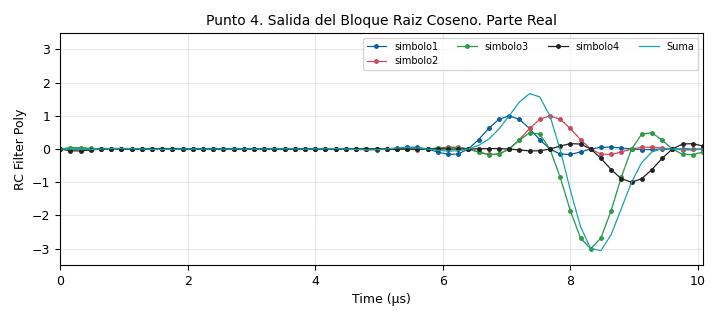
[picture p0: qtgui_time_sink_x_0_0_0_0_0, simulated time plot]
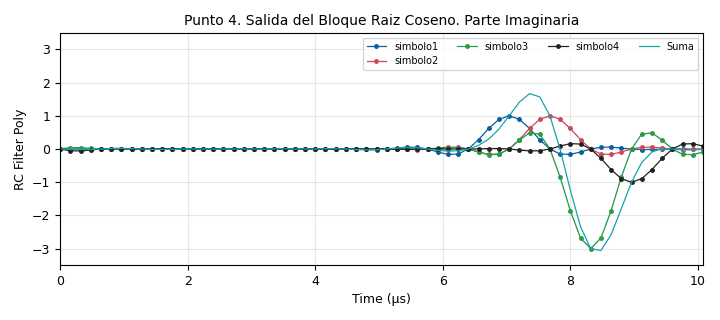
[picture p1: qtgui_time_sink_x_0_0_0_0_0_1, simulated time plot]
<?xml version='1.0' encoding='utf-8'?>
<?grc format='1' created='3.7.13'?>
<flow_graph>
<block>
<key>options</key>
<param><key>id</key><value>Lab_total</value></param>
<param><key>category</key><value>Custom</value></param>
<param><key>generate_options</key><value>qt_gui</value></param>
<param><key>run</key><value>run_stop</value></param>
</block>
<block>
<key>variable</key>
<param><key>id</key><value>Const_ID</value></param>
<param><key>value</key><value>3</value></param>
</block>
<block>
<key>variable</key>
<param><key>id</key><value>Fc</value></param>
<param><key>value</key><value>80000000</value></param>
</block>
<block>
<key>variable</key>
<param><key>id</key><value>M</value></param>
<param><key>value</key><value>len(const[Const_ID].points())</value></param>
</block>
<block>
<key>variable</key>
<param><key>id</key><value>Rb</value></param>
<param><key>value</key><value>samp_rate</value></param>
</block>
<block>
<key>variable</key>
<param><key>id</key><value>Rs</value></param>
<param><key>value</key><value>samp_rate/Sps</value></param>
</block>
<block>
<key>variable</key>
<param><key>id</key><value>Sps</value></param>
<param><key>value</key><value>4</value></param>
</block>
<block>
<key>variable</key>
<param><key>id</key><value>const</value></param>
<param><key>value</key><value>(digital.constellation_bpsk(), digital.constellation_qpsk(), digital.constellation_8psk(), digital.qam.qam_constellation(16))</value></param>
</block>
<block>
<key>variable</key>
<param><key>id</key><value>hrc</value></param>
<param><key>value</key><value>wform.rcos(Sps,ntaps,rolloff)</value></param>
</block>
<block>
<key>variable</key>
<param><key>id</key><value>ntaps</value></param>
<param><key>value</key><value>64</value></param>
</block>
<block>
<key>variable</key>
<param><key>id</key><value>rolloff</value></param>
<param><key>value</key><value>0.35</value></param>
</block>
<block>
<key>variable_qtgui_check_box</key>
<param><key>id</key><value>run_stop</value></param>
<param><key>value</key><value>True</value></param>
<param><key>false</key><value>False</value></param>
<param><key>gui_hint</key><value>0,0,1,1</value></param>
<param><key>label</key><value>Inicial/Parar</value></param>
<param><key>true</key><value>True</value></param>
<param><key>type</key><value>int</value></param>
</block>
<block>
<key>variable</key>
<param><key>id</key><value>samp_rate</value></param>
<param><key>value</key><value>6250000</value></param>
</block>
<block>
<key>analog_random_source_x</key>
<param><key>id</key><value>analog_random_source_x</value></param>
<param><key>max</key><value>M</value></param>
<param><key>min</key><value>0</value></param>
<param><key>num_samps</key><value>10000000</value></param>
<param><key>type</key><value>byte</value></param>
<param><key>repeat</key><value>True</value></param>
</block>
<block>
<key>b_PSD_VRMS_c</key>
<param><key>id</key><value>b_PSD_VRMS_c_0</value></param>
<param><key>Fc</key><value>Fc</value></param>
<param><key>samp_rate_audio</key><value>samp_rate</value></param>
<param><key>gui_hint</key><value>pestana@0:0,0</value></param>
<param><key>N</key><value>1024</value></param>
<param><key>Ensayos</key><value>1000000</value></param>
<param><key>Titulo</key><value>"Punto 3. La PSD"</value></param>
</block>
<block>
<key>blocks_add_xx</key>
<param><key>id</key><value>blocks_add_xx_0</value></param>
<param><key>type</key><value>float</value></param>
<param><key>num_inputs</key><value>4</value></param>
</block>
<block>
<key>blocks_add_xx</key>
<param><key>id</key><value>blocks_add_xx_0_0</value></param>
<param><key>type</key><value>float</value></param>
<param><key>num_inputs</key><value>4</value></param>
</block>
<block>
<key>blocks_delay</key>
<param><key>id</key><value>blocks_delay_0_0</value></param>
<param><key>delay</key><value>0</value></param>
<param><key>type</key><value>float</value></param>
</block>
<block>
<key>blocks_delay</key>
<param><key>id</key><value>blocks_delay_0_0_0</value></param>
<param><key>delay</key><value>Sps</value></param>
<param><key>type</key><value>float</value></param>
</block>
<block>
<key>blocks_delay</key>
<param><key>id</key><value>blocks_delay_0_0_0_0</value></param>
<param><key>delay</key><value>Sps*2</value></param>
<param><key>type</key><value>float</value></param>
</block>
<block>
<key>blocks_delay</key>
<param><key>id</key><value>blocks_delay_0_0_0_0_0</value></param>
<param><key>delay</key><value>Sps*3</value></param>
<param><key>type</key><value>float</value></param>
</block>
<block>
<key>blocks_delay</key>
<param><key>id</key><value>blocks_delay_0_0_0_0_0_0</value></param>
<param><key>delay</key><value>Sps*3</value></param>
<param><key>type</key><value>float</value></param>
</block>
<block>
<key>blocks_delay</key>
<param><key>id</key><value>blocks_delay_0_0_0_0_1</value></param>
<param><key>delay</key><value>Sps*2</value></param>
<param><key>type</key><value>float</value></param>
</block>
<block>
<key>blocks_delay</key>
<param><key>id</key><value>blocks_delay_0_0_0_1</value></param>
<param><key>delay</key><value>Sps</value></param>
<param><key>type</key><value>float</value></param>
</block>
<block>
<key>blocks_delay</key>
<param><key>id</key><value>blocks_delay_0_0_1</value></param>
<param><key>delay</key><value>0</value></param>
<param><key>type</key><value>float</value></param>
</block>
<block>
<key>blocks_throttle</key>
<param><key>id</key><value>blocks_throttle_0_0_0_0</value></param>
<param><key>samples_per_second</key><value>samp_rate</value></param>
<param><key>type</key><value>float</value></param>
</block>
<block>
<key>blocks_throttle</key>
<param><key>id</key><value>blocks_throttle_0_0_0_0_0</value></param>
<param><key>samples_per_second</key><value>samp_rate</value></param>
<param><key>type</key><value>float</value></param>
</block>
<block>
<key>blocks_vector_source_x</key>
<param><key>id</key><value>blocks_vector_source_x_0_1</value></param>
<param><key>type</key><value>float</value></param>
<param><key>repeat</key><value>True</value></param>
<param><key>vector</key><value>1*hrc</value></param>
</block>
<block>
<key>blocks_vector_source_x</key>
<param><key>id</key><value>blocks_vector_source_x_0_1_0</value></param>
<param><key>type</key><value>float</value></param>
<param><key>repeat</key><value>True</value></param>
<param><key>vector</key><value>1*hrc</value></param>
</block>
<block>
<key>blocks_vector_source_x</key>
<param><key>id</key><value>blocks_vector_source_x_0_1_0_0</value></param>
<param><key>type</key><value>float</value></param>
<param><key>repeat</key><value>True</value></param>
<param><key>vector</key><value>-3*hrc</value></param>
</block>
<block>
<key>blocks_vector_source_x</key>
<param><key>id</key><value>blocks_vector_source_x_0_1_0_0_0</value></param>
<param><key>type</key><value>float</value></param>
<param><key>repeat</key><value>True</value></param>
<param><key>vector</key><value>-1*hrc</value></param>
</block>
<block>
<key>blocks_vector_source_x</key>
<param><key>id</key><value>blocks_vector_source_x_0_1_0_0_0_0</value></param>
<param><key>type</key><value>float</value></param>
<param><key>repeat</key><value>True</value></param>
<param><key>vector</key><value>-1*hrc</value></param>
</block>
<block>
<key>blocks_vector_source_x</key>
<param><key>id</key><value>blocks_vector_source_x_0_1_0_0_1</value></param>
<param><key>type</key><value>float</value></param>
<param><key>repeat</key><value>True</value></param>
<param><key>vector</key><value>-3*hrc</value></param>
</block>
<block>
<key>blocks_vector_source_x</key>
<param><key>id</key><value>blocks_vector_source_x_0_1_0_1</value></param>
<param><key>type</key><value>float</value></param>
<param><key>repeat</key><value>True</value></param>
<param><key>vector</key><value>1*hrc</value></param>
</block>
<block>
<key>blocks_vector_source_x</key>
<param><key>id</key><value>blocks_vector_source_x_0_1_1</value></param>
<param><key>type</key><value>float</value></param>
<param><key>repeat</key><value>True</value></param>
<param><key>vector</key><value>1*hrc</value></param>
</block>
<block>
<key>digital_chunks_to_symbols_xx</key>
<param><key>id</key><value>digital_chunks_to_symbols_xx</value></param>
<param><key>dimension</key><value>1</value></param>
<param><key>in_type</key><value>byte</value></param>
<param><key>out_type</key><value>complex</value></param>
<param><key>symbol_table</key><value>const[Const_ID].points()</value></param>
</block>
<block>
<key>import</key>
<param><key>id</key><value>import_0</value></param>
<param><key>import</key><value>import numpy</value></param>
</block>
<block>
<key>interp_fir_filter_xxx</key>
<param><key>id</key><value>interp_fir_filter_xxx_0_0_0_0</value></param>
<param><key>interp</key><value>Sps</value></param>
<param><key>taps</key><value>hrc</value></param>
<param><key>type</key><value>ccc</value></param>
</block>
<block>
<key>qtgui_tab_widget</key>
<param><key>id</key><value>pestana</value></param>
<param><key>label0</key><value>Datos</value></param>
<param><key>num_tabs</key><value>1</value></param>
</block>
<block>
<key>qtgui_time_sink_x</key>
<param><key>id</key><value>qtgui_time_sink_x_0_0_0_0_0</value></param>
<param><key>ctrlpanel</key><value>True</value></param>
<param><key>gui_hint</key><value>pestana@0:1,0</value></param>
<param><key>color1</key><value>"blue"</value></param>
<param><key>label1</key><value>simbolo1</value></param>
<param><key>marker1</key><value>0</value></param>
<param><key>width1</key><value>3</value></param>
<param><key>color2</key><value>"red"</value></param>
<param><key>label2</key><value>simbolo2</value></param>
<param><key>marker2</key><value>0</value></param>
<param><key>width2</key><value>3</value></param>
<param><key>color3</key><value>"green"</value></param>
<param><key>label3</key><value>simbolo3</value></param>
<param><key>marker3</key><value>0</value></param>
<param><key>width3</key><value>3</value></param>
<param><key>color4</key><value>"black"</value></param>
<param><key>label4</key><value>simbolo4</value></param>
<param><key>marker4</key><value>0</value></param>
<param><key>width4</key><value>3</value></param>
<param><key>color5</key><value>"cyan"</value></param>
<param><key>label5</key><value>Suma</value></param>
<param><key>width5</key><value>5</value></param>
<param><key>name</key><value>"Punto 4. Salida del Bloque Raiz Coseno. Parte Real"</value></param>
<param><key>nconnections</key><value>5</value></param>
<param><key>size</key><value>ntaps</value></param>
<param><key>srate</key><value>samp_rate</value></param>
<param><key>tr_mode</key><value>qtgui.TRIG_MODE_AUTO</value></param>
<param><key>type</key><value>float</value></param>
<param><key>ylabel</key><value>RC Filter Poly</value></param>
<param><key>ymax</key><value>3.5</value></param>
<param><key>ymin</key><value>-3.5</value></param>
</block>
<block>
<key>qtgui_time_sink_x</key>
<param><key>id</key><value>qtgui_time_sink_x_0_0_0_0_0_1</value></param>
<param><key>ctrlpanel</key><value>True</value></param>
<param><key>gui_hint</key><value>pestana@0:2,0</value></param>
<param><key>color1</key><value>"blue"</value></param>
<param><key>label1</key><value>simbolo1</value></param>
<param><key>marker1</key><value>0</value></param>
<param><key>width1</key><value>3</value></param>
<param><key>color2</key><value>"red"</value></param>
<param><key>label2</key><value>simbolo2</value></param>
<param><key>marker2</key><value>0</value></param>
<param><key>width2</key><value>3</value></param>
<param><key>color3</key><value>"green"</value></param>
<param><key>label3</key><value>simbolo3</value></param>
<param><key>marker3</key><value>0</value></param>
<param><key>width3</key><value>3</value></param>
<param><key>color4</key><value>"black"</value></param>
<param><key>label4</key><value>simbolo4</value></param>
<param><key>marker4</key><value>0</value></param>
<param><key>width4</key><value>3</value></param>
<param><key>color5</key><value>"cyan"</value></param>
<param><key>label5</key><value>Suma</value></param>
<param><key>width5</key><value>5</value></param>
<param><key>name</key><value>"Punto 4. Salida del Bloque Raiz Coseno. Parte Imaginaria"</value></param>
<param><key>nconnections</key><value>5</value></param>
<param><key>size</key><value>ntaps</value></param>
<param><key>srate</key><value>samp_rate</value></param>
<param><key>tr_mode</key><value>qtgui.TRIG_MODE_AUTO</value></param>
<param><key>type</key><value>float</value></param>
<param><key>ylabel</key><value>RC Filter Poly</value></param>
<param><key>ymax</key><value>3.5</value></param>
<param><key>ymin</key><value>-3.5</value></param>
</block>
<block>
<key>virtual_sink</key>
<param><key>id</key><value>virtual_sink_0</value></param>
<param><key>stream_id</key><value>RC0</value></param>
</block>
<block>
<key>virtual_sink</key>
<param><key>id</key><value>virtual_sink_0_0</value></param>
<param><key>stream_id</key><value>RC1</value></param>
</block>
<block>
<key>virtual_sink</key>
<param><key>id</key><value>virtual_sink_0_0_0</value></param>
<param><key>stream_id</key><value>RC2</value></param>
</block>
<block>
<key>virtual_sink</key>
<param><key>id</key><value>virtual_sink_0_0_0_0</value></param>
<param><key>stream_id</key><value>RC3</value></param>
</block>
<block>
<key>virtual_sink</key>
<param><key>id</key><value>virtual_sink_0_0_0_0_0</value></param>
<param><key>stream_id</key><value>RCs</value></param>
</block>
<block>
<key>virtual_sink</key>
<param><key>id</key><value>virtual_sink_0_0_0_0_0_0</value></param>
<param><key>stream_id</key><value>RCis</value></param>
</block>
<block>
<key>virtual_sink</key>
<param><key>id</key><value>virtual_sink_0_0_0_0_1</value></param>
<param><key>stream_id</key><value>RCi3</value></param>
</block>
<block>
<key>virtual_sink</key>
<param><key>id</key><value>virtual_sink_0_0_0_1</value></param>
<param><key>stream_id</key><value>RCi2</value></param>
</block>
<block>
<key>virtual_sink</key>
<param><key>id</key><value>virtual_sink_0_0_1</value></param>
<param><key>stream_id</key><value>RCi1</value></param>
</block>
<block>
<key>virtual_sink</key>
<param><key>id</key><value>virtual_sink_0_1</value></param>
<param><key>stream_id</key><value>RCi0</value></param>
</block>
<block>
<key>virtual_source</key>
<param><key>id</key><value>virtual_source_0_2</value></param>
<param><key>stream_id</key><value>RC0</value></param>
</block>
<block>
<key>virtual_source</key>
<param><key>id</key><value>virtual_source_0_2_0</value></param>
<param><key>stream_id</key><value>RC1</value></param>
</block>
<block>
<key>virtual_source</key>
<param><key>id</key><value>virtual_source_0_2_0_0</value></param>
<param><key>stream_id</key><value>RC2</value></param>
</block>
<block>
<key>virtual_source</key>
<param><key>id</key><value>virtual_source_0_2_0_0_0</value></param>
<param><key>stream_id</key><value>RC3</value></param>
</block>
<block>
<key>virtual_source</key>
<param><key>id</key><value>virtual_source_0_2_0_0_0_0</value></param>
<param><key>stream_id</key><value>RCs</value></param>
</block>
<block>
<key>virtual_source</key>
<param><key>id</key><value>virtual_source_0_2_0_0_0_0_0</value></param>
<param><key>stream_id</key><value>RCis</value></param>
</block>
<block>
<key>virtual_source</key>
<param><key>id</key><value>virtual_source_0_2_0_0_0_1</value></param>
<param><key>stream_id</key><value>RCi3</value></param>
</block>
<block>
<key>virtual_source</key>
<param><key>id</key><value>virtual_source_0_2_0_0_1</value></param>
<param><key>stream_id</key><value>RCi2</value></param>
</block>
<block>
<key>virtual_source</key>
<param><key>id</key><value>virtual_source_0_2_0_1</value></param>
<param><key>stream_id</key><value>RCi1</value></param>
</block>
<block>
<key>virtual_source</key>
<param><key>id</key><value>virtual_source_0_2_1</value></param>
<param><key>stream_id</key><value>RCi0</value></param>
</block>
<block>
<key>epy_module</key>
<param><key>id</key><value>wform</value></param>
<param><key>source_code</key><value>import math
import numpy
#######################################################
##        Hecho por Homero Ortega Boada              ##
##        comdiguis@saber.uis.edu.co                 ##
##     Universidad Industrial de Santander           ##
#######################################################

#######################################################
##               Forma rectangular                   ##
#######################################################                       
def rect(Sps):
    return Sps*[1.,]

#######################################################
##               Forma de Nyquist                    ##
#######################################################                       
def nyq(Sps,ntaps):
    n=numpy.linspace(-int(ntaps/2), int(ntaps/2-1),ntaps)
    h=numpy.sinc(n/Sps)
    return h/numpy.amax(h)
#    return h
#######################################################
##               Forma Coseno Alzado                 ##
#######################################################                       
def rcos(Sps,ntaps,beta):
    if beta==0:
        h=nyq(Sps,ntaps)
    else:
        h=ntaps*[0,]
        for n in range(ntaps):
            k=n-ntaps/2. # esto es para que h[n] quede centrada en la mitad del vector
            if abs(k)==Sps/(2.*beta):
                h[n]=numpy.sinc(1./(2.*beta))*math.pi/4.
            else:
                h[n]=numpy.sinc(k/Sps)*math.cos(beta*k*math.pi/Sps)/(1.-(2.*beta*k/Sps)**2)                
    Amp=numpy.amax(h)
    return h/Amp
#######################################################
##            Forma Raiz de Coseno Alzado            ##
#######################################################                       

def rrcos(Sps,ntaps,beta):
    if beta==0:
        h=nyq(Sps,ntaps)
    else:
        h=ntaps*[0,]
        beta4=4.*beta
        for n in range(ntaps):
            k=n-ntaps/2. # esto es para que h[n] quede centrada en la mitad del vector
            if k==0:
                h[n]=1+beta*(4./math.pi-1.)
            elif abs(k)==Sps/beta4:
                ha=(1.+2./math.pi)*math.sin(math.pi/beta4)
                hb=(1.-2./math.pi)*math.cos(math.pi/beta4)
                h[n]=(ha+hb)*beta/math.sqrt(2.)
            else:
                ks=k/Sps
                kspi=math.pi*ks
                Num=math.sin(kspi*(1-beta))+beta4*ks*math.cos(kspi*(1+beta))
                Den=kspi*(1.-(beta4*ks)**2)
                h[n]=Num/Den                
    Amp=numpy.amax(h)
    return h/Amp
</value></param>
</block>
<connection><source_block_id>analog_random_source_x</source_block_id><sink_block_id>digital_chunks_to_symbols_xx</sink_block_id><source_key>0</source_key><sink_key>0</sink_key></connection>
<connection><source_block_id>blocks_add_xx_0</source_block_id><sink_block_id>virtual_sink_0_0_0_0_0</sink_block_id><source_key>0</source_key><sink_key>0</sink_key></connection>
<connection><source_block_id>blocks_add_xx_0_0</source_block_id><sink_block_id>virtual_sink_0_0_0_0_0_0</sink_block_id><source_key>0</source_key><sink_key>0</sink_key></connection>
<connection><source_block_id>blocks_delay_0_0</source_block_id><sink_block_id>blocks_add_xx_0</sink_block_id><source_key>0</source_key><sink_key>0</sink_key></connection>
<connection><source_block_id>blocks_delay_0_0</source_block_id><sink_block_id>blocks_throttle_0_0_0_0</sink_block_id><source_key>0</source_key><sink_key>0</sink_key></connection>
<connection><source_block_id>blocks_delay_0_0_0</source_block_id><sink_block_id>blocks_add_xx_0</sink_block_id><source_key>0</source_key><sink_key>1</sink_key></connection>
<connection><source_block_id>blocks_delay_0_0_0</source_block_id><sink_block_id>virtual_sink_0_0</sink_block_id><source_key>0</source_key><sink_key>0</sink_key></connection>
<connection><source_block_id>blocks_delay_0_0_0_0</source_block_id><sink_block_id>blocks_add_xx_0</sink_block_id><source_key>0</source_key><sink_key>2</sink_key></connection>
<connection><source_block_id>blocks_delay_0_0_0_0</source_block_id><sink_block_id>virtual_sink_0_0_0</sink_block_id><source_key>0</source_key><sink_key>0</sink_key></connection>
<connection><source_block_id>blocks_delay_0_0_0_0_0</source_block_id><sink_block_id>blocks_add_xx_0</sink_block_id><source_key>0</source_key><sink_key>3</sink_key></connection>
<connection><source_block_id>blocks_delay_0_0_0_0_0</source_block_id><sink_block_id>virtual_sink_0_0_0_0</sink_block_id><source_key>0</source_key><sink_key>0</sink_key></connection>
<connection><source_block_id>blocks_delay_0_0_0_0_0_0</source_block_id><sink_block_id>blocks_add_xx_0_0</sink_block_id><source_key>0</source_key><sink_key>3</sink_key></connection>
<connection><source_block_id>blocks_delay_0_0_0_0_0_0</source_block_id><sink_block_id>virtual_sink_0_0_0_0_1</sink_block_id><source_key>0</source_key><sink_key>0</sink_key></connection>
<connection><source_block_id>blocks_delay_0_0_0_0_1</source_block_id><sink_block_id>blocks_add_xx_0_0</sink_block_id><source_key>0</source_key><sink_key>2</sink_key></connection>
<connection><source_block_id>blocks_delay_0_0_0_0_1</source_block_id><sink_block_id>virtual_sink_0_0_0_1</sink_block_id><source_key>0</source_key><sink_key>0</sink_key></connection>
<connection><source_block_id>blocks_delay_0_0_0_1</source_block_id><sink_block_id>blocks_add_xx_0_0</sink_block_id><source_key>0</source_key><sink_key>1</sink_key></connection>
<connection><source_block_id>blocks_delay_0_0_0_1</source_block_id><sink_block_id>virtual_sink_0_0_1</sink_block_id><source_key>0</source_key><sink_key>0</sink_key></connection>
<connection><source_block_id>blocks_delay_0_0_1</source_block_id><sink_block_id>blocks_add_xx_0_0</sink_block_id><source_key>0</source_key><sink_key>0</sink_key></connection>
<connection><source_block_id>blocks_delay_0_0_1</source_block_id><sink_block_id>blocks_throttle_0_0_0_0_0</sink_block_id><source_key>0</source_key><sink_key>0</sink_key></connection>
<connection><source_block_id>blocks_throttle_0_0_0_0</source_block_id><sink_block_id>virtual_sink_0</sink_block_id><source_key>0</source_key><sink_key>0</sink_key></connection>
<connection><source_block_id>blocks_throttle_0_0_0_0_0</source_block_id><sink_block_id>virtual_sink_0_1</sink_block_id><source_key>0</source_key><sink_key>0</sink_key></connection>
<connection><source_block_id>blocks_vector_source_x_0_1</source_block_id><sink_block_id>blocks_delay_0_0</sink_block_id><source_key>0</source_key><sink_key>0</sink_key></connection>
<connection><source_block_id>blocks_vector_source_x_0_1_0</source_block_id><sink_block_id>blocks_delay_0_0_0</sink_block_id><source_key>0</source_key><sink_key>0</sink_key></connection>
<connection><source_block_id>blocks_vector_source_x_0_1_0_0</source_block_id><sink_block_id>blocks_delay_0_0_0_0</sink_block_id><source_key>0</source_key><sink_key>0</sink_key></connection>
<connection><source_block_id>blocks_vector_source_x_0_1_0_0_0</source_block_id><sink_block_id>blocks_delay_0_0_0_0_0</sink_block_id><source_key>0</source_key><sink_key>0</sink_key></connection>
<connection><source_block_id>blocks_vector_source_x_0_1_0_0_0_0</source_block_id><sink_block_id>blocks_delay_0_0_0_0_0_0</sink_block_id><source_key>0</source_key><sink_key>0</sink_key></connection>
<connection><source_block_id>blocks_vector_source_x_0_1_0_0_1</source_block_id><sink_block_id>blocks_delay_0_0_0_0_1</sink_block_id><source_key>0</source_key><sink_key>0</sink_key></connection>
<connection><source_block_id>blocks_vector_source_x_0_1_0_1</source_block_id><sink_block_id>blocks_delay_0_0_0_1</sink_block_id><source_key>0</source_key><sink_key>0</sink_key></connection>
<connection><source_block_id>blocks_vector_source_x_0_1_1</source_block_id><sink_block_id>blocks_delay_0_0_1</sink_block_id><source_key>0</source_key><sink_key>0</sink_key></connection>
<connection><source_block_id>digital_chunks_to_symbols_xx</source_block_id><sink_block_id>interp_fir_filter_xxx_0_0_0_0</sink_block_id><source_key>0</source_key><sink_key>0</sink_key></connection>
<connection><source_block_id>interp_fir_filter_xxx_0_0_0_0</source_block_id><sink_block_id>b_PSD_VRMS_c_0</sink_block_id><source_key>0</source_key><sink_key>0</sink_key></connection>
<connection><source_block_id>virtual_source_0_2</source_block_id><sink_block_id>qtgui_time_sink_x_0_0_0_0_0</sink_block_id><source_key>0</source_key><sink_key>0</sink_key></connection>
<connection><source_block_id>virtual_source_0_2_0</source_block_id><sink_block_id>qtgui_time_sink_x_0_0_0_0_0</sink_block_id><source_key>0</source_key><sink_key>1</sink_key></connection>
<connection><source_block_id>virtual_source_0_2_0_0</source_block_id><sink_block_id>qtgui_time_sink_x_0_0_0_0_0</sink_block_id><source_key>0</source_key><sink_key>2</sink_key></connection>
<connection><source_block_id>virtual_source_0_2_0_0_0</source_block_id><sink_block_id>qtgui_time_sink_x_0_0_0_0_0</sink_block_id><source_key>0</source_key><sink_key>3</sink_key></connection>
<connection><source_block_id>virtual_source_0_2_0_0_0_0</source_block_id><sink_block_id>qtgui_time_sink_x_0_0_0_0_0</sink_block_id><source_key>0</source_key><sink_key>4</sink_key></connection>
<connection><source_block_id>virtual_source_0_2_0_0_0_0_0</source_block_id><sink_block_id>qtgui_time_sink_x_0_0_0_0_0_1</sink_block_id><source_key>0</source_key><sink_key>4</sink_key></connection>
<connection><source_block_id>virtual_source_0_2_0_0_0_1</source_block_id><sink_block_id>qtgui_time_sink_x_0_0_0_0_0_1</sink_block_id><source_key>0</source_key><sink_key>3</sink_key></connection>
<connection><source_block_id>virtual_source_0_2_0_0_1</source_block_id><sink_block_id>qtgui_time_sink_x_0_0_0_0_0_1</sink_block_id><source_key>0</source_key><sink_key>2</sink_key></connection>
<connection><source_block_id>virtual_source_0_2_0_1</source_block_id><sink_block_id>qtgui_time_sink_x_0_0_0_0_0_1</sink_block_id><source_key>0</source_key><sink_key>1</sink_key></connection>
<connection><source_block_id>virtual_source_0_2_1</source_block_id><sink_block_id>qtgui_time_sink_x_0_0_0_0_0_1</sink_block_id><source_key>0</source_key><sink_key>0</sink_key></connection>
</flow_graph>
